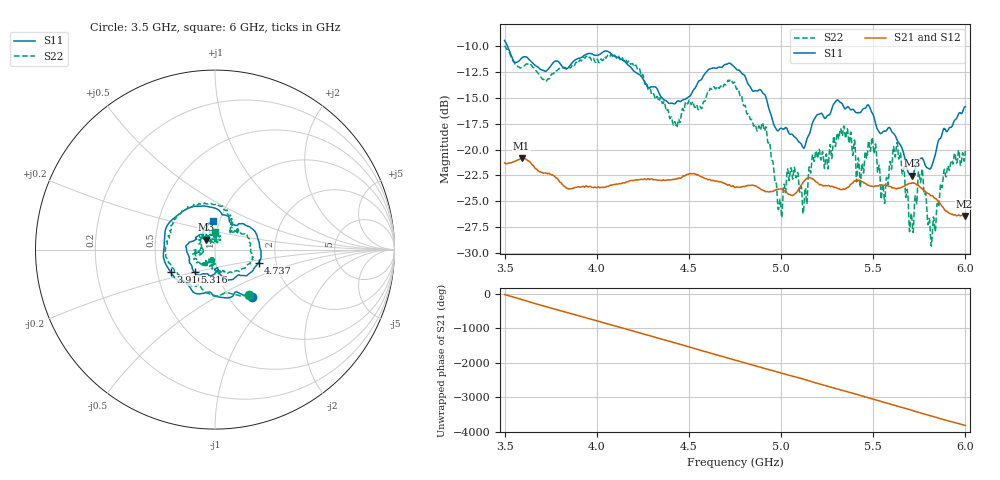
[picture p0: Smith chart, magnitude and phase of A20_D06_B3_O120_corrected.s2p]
! Created with skrf 1.9.0 (http://scikit-rf.org).
# Hz S RI R 50.0
!freq ReS11 ImS11 ReS21 ImS21 ReS12 ImS12 ReS22 ImS22
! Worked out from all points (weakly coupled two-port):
!   1601 points, 3.5 GHz to 6 GHz, reference 50 ohm
!   highest |S21| = -20.85 dB at 3.592 GHz (marker M1); lowest = -26.4 dB at 5.995 GHz (marker M2)
!   lowest |S11| = -22.5 dB at 5.709 GHz (marker M3), VSWR 1.16, Z = 45 + j5.03 ohm
!   |S11| at or under -10 dB: 3.514 GHz to end of sweep
!   |S22| runs from -29.3 to -10.0 dB; largest |S21 - S12| = 0.00099
!   S11 on the Smith chart (normalised r, x): 3.5 GHz: 1.28, -0.75; 3.916 GHz: 0.59, -0.16; 4.737 GHz: 1.62, -0.25; 5.316 GHz: 0.77, -0.20; 6 GHz: 0.93, +0.31
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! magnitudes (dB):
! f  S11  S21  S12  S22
! 3.5 GHz  -9.5  -21.3  -21.3  -10.0
! 3.592 GHz  -11.2  -20.9  -20.9  -12.1
! 3.916 GHz  -11.2  -23.6  -23.6  -11.5
! 3.917 GHz  -11.1  -23.6  -23.6  -11.4
! 4.334 GHz  -14.4  -22.9  -22.9  -15.2
! 4.427 GHz  -15.6  -22.9  -22.8  -17.5
! 4.737 GHz  -11.9  -23.5  -23.5  -13.6
! 4.75 GHz  -12.1  -23.7  -23.6  -13.7
! 4.911 GHz  -14.7  -24.0  -23.9  -18.2
! 4.994 GHz  -18.0  -23.8  -23.7  -24.8
! 5.062 GHz  -18.6  -24.4  -24.4  -22.8
! 5.13 GHz  -19.7  -23.0  -22.9  -23.8
! 5.167 GHz  -17.6  -22.8  -22.7  -21.0
! 5.316 GHz  -15.4  -23.8  -23.7  -18.8
! 5.584 GHz  -17.9  -23.5  -23.5  -22.6
! 5.638 GHz  -19.3  -23.7  -23.7  -20.8
! 5.709 GHz  -22.5  -23.2  -23.2  -26.6
! 5.755 GHz  -20.9  -23.6  -23.6  -23.1
! 5.823 GHz  -21.3  -24.5  -24.4  -27.2
! 5.892 GHz  -18.1  -25.9  -25.8  -22.5
! 5.995 GHz  -15.9  -26.4  -26.3  -21.0
! 6 GHz  -15.9  -26.4  -26.3  -20.1
